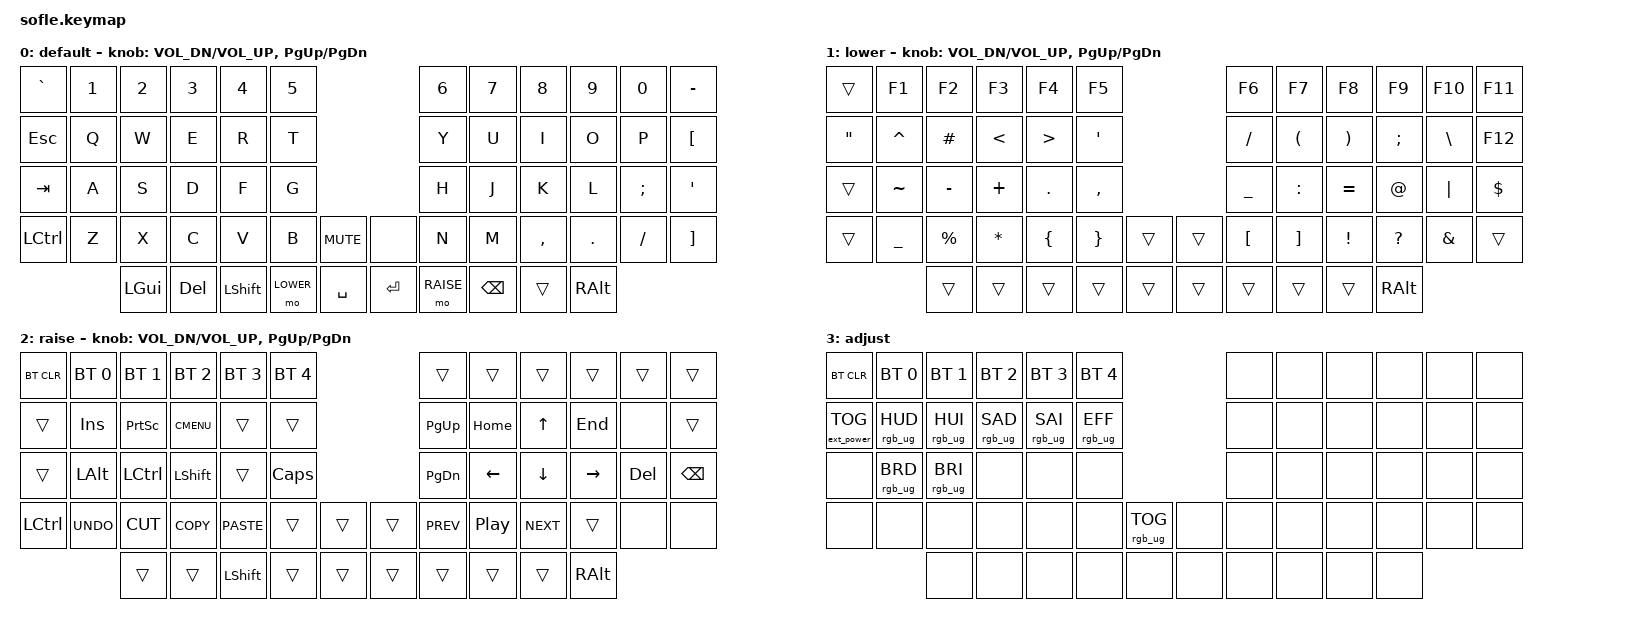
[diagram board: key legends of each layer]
/*
 * Copyright (c) 2020 The ZMK Contributors
 *
 * SPDX-License-Identifier: MIT
 */

#include <behaviors.dtsi>
#include <dt-bindings/zmk/bt.h>
#include <dt-bindings/zmk/ext_power.h>
#include <dt-bindings/zmk/keys.h>
#include <dt-bindings/zmk/rgb.h>

#define BASE 0
#define LOWER 1
#define RAISE 2
#define ADJUST 3

/ {
    // Activate ADJUST layer by pressing raise and lower

    conditional_layers {
        compatible = "zmk,conditional-layers";

        adjust_layer {
            if-layers = <LOWER RAISE>;
            then-layer = <ADJUST>;
        };
    };

    combos { compatible = "zmk,combos"; };

    keymap {
        compatible = "zmk,keymap";

        default_layer {
            display-name = "default";

            // ------------------------------------------------------------------------------------------------------------
            // |   `   |  1  |  2  |  3   |  4   |  5   |                   |  6   |  7    |  8    |  9   |   0   |   =   |
            // |  ESC  |  Q  |  W  |  E   |  R   |  T   |                   |  Y   |  U    |  I    |  O   |   P   |   [   |
            // |  TAB  |  A  |  S  |  D   |  F   |  G   |                   |  H   |  J    |  K    |  L   |   ;   |   ]   |
            // | LCTRL |  Z  |  X  |  C   |  V   |  B   |  MUTE  |  |       |  N   |  M    |  ,    |  .   |   /   |   '   |
            //               | GUI | DEL  |LSHIFT| LOWER|  ENTER |  | SPACE | RAISE|BACKSPC| ALT   | GUI  |

            bindings = <
&kp GRAVE  &kp N1  &kp N2    &kp N3   &kp N4          &kp N5                            &kp N6     &kp N7         &kp N8     &kp N9         &kp N0    &kp MINUS
&kp ESC    &kp Q   &kp W     &kp E    &kp R           &kp T                             &kp Y      &kp U          &kp I      &kp O          &kp P     &kp LEFT_BRACKET
&kp TAB    &kp A   &kp S     &kp D    &kp F           &kp G                             &kp H      &kp J          &kp K      &kp L          &kp SEMI  &kp SQT
&kp LCTRL  &kp Z   &kp X     &kp C    &kp V           &kp B      &kp C_MUTE    &none    &kp N      &kp M          &kp COMMA  &kp DOT        &kp FSLH  &kp RIGHT_BRACKET
                   &kp LGUI  &kp DEL  &kp LEFT_SHIFT  &mo LOWER  &kp SPACE     &kp RET  &mo RAISE  &kp BACKSPACE  &trans     &kp RIGHT_ALT
            >;

            sensor-bindings =
                <&inc_dec_kp C_VOL_DN C_VOLUME_UP>,
                <&inc_dec_kp PG_UP PG_DN>;
        };

        lower_layer {
            display-name = "lower";

            // TODO: Some binds are waiting for shifted keycode support.
            // ------------------------------------------------------------------------------------------------------------
            // |       |  F1 |  F2 |  F3  |  F4  |  F5  |                   |  F6  |  F7   |  F8   |  F9  |  F10  |  F11  |
            // |   `   |  1  |  2  |  3   |  4   |  5   |                   |  6   |  7    |  8    |  9   |   0   |  F12  |
            // |       |  !  |  @  |  #   |  $   |  %   |                   |  ^   |  &    |  *    |  (   |   )   |   |   |
            // |       |  =  |  -  |  +   |  {   |  }   |        |  |       |  [   |  ]    |  ;    |  :   |   \   |       |
            //               |     |      |      |      |        |  |       |      |       |       |      |

            bindings = <
&trans             &kp F1          &kp F2       &kp F3         &kp F4            &kp F5                            &kp F6          &kp F7                &kp F8                 &kp F9         &kp F10        &kp F11
&kp DOUBLE_QUOTES  &kp CARET       &kp HASH     &kp LESS_THAN  &kp GREATER_THAN  &kp APOSTROPHE                    &kp SLASH       &kp LEFT_PARENTHESIS  &kp RIGHT_PARENTHESIS  &kp SEMICOLON  &kp BACKSLASH  &kp F12
&trans             &kp TILDE       &kp MINUS    &kp PLUS       &kp PERIOD        &kp COMMA                         &kp UNDERSCORE  &kp COLON             &kp EQUAL              &kp AT_SIGN    &kp PIPE       &kp DOLLAR
&trans             &kp UNDERSCORE  &kp PERCENT  &kp ASTERISK   &kp LBRC          &kp RBRC        &trans    &trans  &kp LBKT        &kp RBKT              &kp EXCLAMATION        &kp QUESTION   &kp AMPERSAND  &trans
                                   &trans       &trans         &trans            &trans          &trans    &trans  &trans          &trans                &trans                 &kp RIGHT_ALT
            >;

            sensor-bindings =
                <&inc_dec_kp C_VOL_DN C_VOL_UP>,
                <&inc_dec_kp PG_UP PG_DN>;
        };

        raise_layer {
            display-name = "raise";

            // ------------------------------------------------------------------------------------------------------------
            // | BTCLR | BT1  | BT2  |  BT3  |  BT4  |  BT5 |                |      |      |       |      |       |       |
            // |       | INS  | PSCR | GUI   |       |      |                | PGUP |      |   ^   |      |       |       |
            // |       | ALT  | CTRL | SHIFT |       | CAPS |                | PGDN |   <- |   v   |  ->  |  DEL  | BKSPC |
            // |       | UNDO | CUT  | COPY  | PASTE |      |      |  |      |      |      |       |      |       |       |
            //                |      |       |       |      |      |  |      |      |      |       |      |

            bindings = <
&bt BT_CLR        &bt BT_SEL 0  &bt BT_SEL 1  &bt BT_SEL 2  &bt BT_SEL 3    &bt BT_SEL 4                    &trans      &trans            &trans      &trans         &trans   &trans
&trans            &kp INS       &kp PSCRN     &kp K_CMENU   &trans          &trans                          &kp PG_UP   &kp HOME          &kp UP      &kp END        &none    &trans
&trans            &kp LALT      &kp LCTRL     &kp LSHFT     &trans          &kp CLCK                        &kp PG_DN   &kp LEFT          &kp DOWN    &kp RIGHT      &kp DEL  &kp BSPC
&kp LEFT_CONTROL  &kp K_UNDO    &kp K_CUT     &kp K_COPY    &kp K_PASTE     &trans        &trans    &trans  &kp C_PREV  &kp C_PLAY_PAUSE  &kp C_NEXT  &trans         &none    &none
                                &trans        &trans        &kp LEFT_SHIFT  &trans        &trans    &trans  &trans      &trans            &trans      &kp RIGHT_ALT
            >;

            sensor-bindings =
                <&inc_dec_kp C_VOL_DN C_VOL_UP>,
                <&inc_dec_kp PG_UP PG_DN>;
        };

        adjust_layer {
            // ----------------------------------------------------------------------------------------------------------------------------
            // | BTCLR  |  BT1    |  BT2    |   BT3   |   BT4   |   BT5   |                  |      |      |       |      |       |       |
            // | EXTPWR | RGB_HUD | RGB_HUI | RGB_SAD | RGB_SAI | RGB_EFF |                  |      |      |       |      |       |       |
            // |        | RGB_BRD | RGB_BRI |         |         |         |                  |      |      |       |      |       |       |
            // |        |         |         |         |         |         | RGB_TOG | |      |      |      |       |      |       |       |
            //                    |         |         |         |         |         | |      |      |      |       |      |

            display-name = "adjust";
            bindings = <
&bt BT_CLR         &bt BT_SEL 0     &bt BT_SEL 1     &bt BT_SEL 2     &bt BT_SEL 3     &bt BT_SEL 4                               &none  &none  &none  &none  &none  &none
&ext_power EP_TOG  &rgb_ug RGB_HUD  &rgb_ug RGB_HUI  &rgb_ug RGB_SAD  &rgb_ug RGB_SAI  &rgb_ug RGB_EFF                            &none  &none  &none  &none  &none  &none
&none              &rgb_ug RGB_BRD  &rgb_ug RGB_BRI  &none            &none            &none                                      &none  &none  &none  &none  &none  &none
&none              &none            &none            &none            &none            &none            &rgb_ug RGB_TOG    &none  &none  &none  &none  &none  &none  &none
                                    &none            &none            &none            &none            &none              &none  &none  &none  &none  &none
            >;
        };
    };
};
